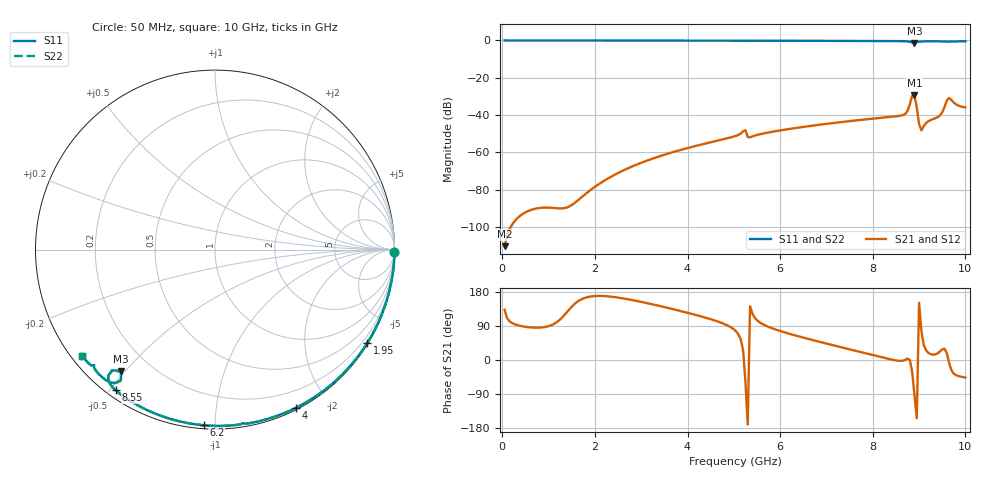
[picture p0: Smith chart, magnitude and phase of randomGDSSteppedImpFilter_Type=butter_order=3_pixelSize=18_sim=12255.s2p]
! freq	dB(S11)	phase(S11)	dB(S12)	phase(S12)
!  dB(S21)	phase(S21)	dB(S22)	phase(S22)
!S-par simulation data
#  GHz  S  DB  R 50
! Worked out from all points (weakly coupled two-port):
!   200 points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, 50 MHz to 10 GHz, reference 50 ohm
!   highest |S21| = -29.33 dB at 8.9 GHz (marker M1); lowest = -110.2 dB at 50 MHz (marker M2)
!   lowest |S11| = -1.4 dB at 8.9 GHz (marker M3), VSWR 12.86, Z = 4.81 - j24.3 ohm
!   |S11| at or under -10 dB: nowhere
!   |S22| runs from -1.3 to 0.0 dB; largest |S21 - S12| = 0
!   S11 on the Smith chart (normalised r, x): 50 MHz: open; 1.95 GHz: 0.03, -3.54; 4 GHz: 0.02, -1.64; 6.2 GHz: 0.02, -0.94; 8.55 GHz: 0.03, -0.52; 10 GHz: 0.03, -0.35
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0.05  -0.00 -0.8  -110.23 132.7  -110.23 132.7  -0.00 -0.8
1.75  -0.04 -28.4  -83.23 162.4  -83.23 162.4  -0.04 -28.4
1.95  -0.04 -31.6  -79.32 168.3  -79.32 168.3  -0.04 -31.6
3.4  -0.07 -54.0  -62.03 142.6  -62.03 142.6  -0.07 -54.0
4  -0.09 -62.9  -57.65 124.6  -57.65 124.6  -0.09 -62.9
5.05  -0.12 -78.0  -51.08 75.5  -51.08 75.5  -0.12 -78.0
5.25  -0.18 -80.8  -48.10 -57.2  -48.10 -57.2  -0.18 -80.9
5.3  -0.15 -81.3  -51.78 -170.3  -51.78 -170.3  -0.15 -81.3
5.35  -0.14 -82.0  -51.90 141.9  -51.90 141.9  -0.14 -82.0
6.2  -0.17 -93.7  -47.41 69.2  -47.41 69.2  -0.17 -93.8
6.7  -0.19 -100.4  -45.65 52.7  -45.65 52.7  -0.19 -100.4
8.35  -0.32 -122.2  -41.02 2.7  -41.02 2.7  -0.32 -122.2
8.55  -0.36 -125.2  -40.48 -2.1  -40.48 -2.1  -0.36 -125.2
8.7  -0.44 -127.9  -39.37 0.3  -39.37 0.3  -0.45 -128.0
8.85  -1.06 -130.6  -29.75 -30.1  -29.75 -30.1  -1.13 -130.2
8.9  -1.35 -127.8  -29.33 -92.6  -29.33 -92.6  -1.31 -127.2
9  -0.66 -126.7  -44.88 151.0  -44.88 151.0  -0.63 -126.8
9.05  -0.54 -127.9  -48.21 76.7  -48.21 76.7  -0.53 -128.0
9.15  -0.47 -129.9  -44.25 25.8  -44.25 25.8  -0.47 -130.0
9.45  -0.48 -134.6  -40.21 22.5  -40.21 22.5  -0.48 -134.6
9.65  -0.59 -136.2  -30.81 -8.5  -30.81 -8.5  -0.59 -136.3
10  -0.48 -141.3  -35.88 -46.4  -35.88 -46.4  -0.48 -141.3
